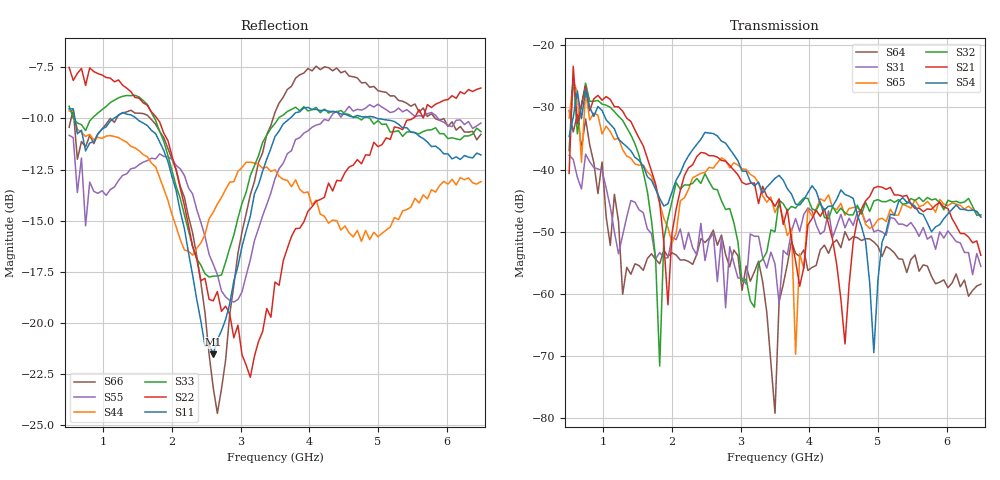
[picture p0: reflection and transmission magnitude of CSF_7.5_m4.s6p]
!Keysight Technologies,M9804A,MY58100912,A.14.10.03
!Date: Thursday, April 27, 2023 10:28:33
!Correction: S11(C  6-Port  )
!S12(C  6-Port  )
!S13(C  6-Port  )
!S14(C  6-Port  )
!S15(C  6-Port  )
!S16(C  6-Port  )
!S21(C  6-Port  )
!S22(C  6-Port  )
!S23(C  6-Port  )
!S24(C  6-Port  )
!S25(C  6-Port  )
!S26(C  6-Port  )
!S31(C  6-Port  )
!S32(C  6-Port  )
!S33(C  6-Port  )
!S34(C  6-Port  )
!S35(C  6-Port  )
!S36(C  6-Port  )
!S41(C  6-Port  )
!S42(C  6-Port  )
!S43(C  6-Port  )
!S44(C  6-Port  )
!S45(C  6-Port  )
!S46(C  6-Port  )
!S51(C  6-Port  )
!S52(C  6-Port  )
!S53(C  6-Port  )
!S54(C  6-Port  )
!S55(C  6-Port  )
!S56(C  6-Port  )
!S61(C  6-Port  )
!S62(C  6-Port  )
!S63(C  6-Port  )
!S64(C  6-Port  )
!S65(C  6-Port  )
!S66(C  6-Port  )
!S6P File: Measurement: :
# Hz S  RI  R 50
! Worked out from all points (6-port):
!   101 points, 500 MHz to 6.5 GHz, reference 50 ohm
!   strongest paths, dB at 500 MHz, 2 GHz, 3.5 GHz, 5 GHz, 6.5 GHz:
!     S54: -34.7, -43.6, -41.4, -57.8, -47.6
!     S21: -40.6, -50.2, -45.9, -42.7, -53.8
!     S32: -37.0, -45.1, -50.0, -44.8, -47.3
!     S65: -31.7, -51.8, -46.9, -48.1, -47.7
!     S31: -37.7, -50.9, -55.2, -49.8, -55.6
!     S64: -30.5, -53.4, -79.2, -52.3, -58.4
!   lowest |S11| = -21.5 dB at 2.6 GHz (marker M1), VSWR 1.18, Z = 42.5 + j1.94 ohm
!   |S11| at or under -10 dB: 582.8 MHz to 1.154 GHz (570.9 MHz wide, 65.8 % of centre); 1.477 GHz to 3.718 GHz (2.24 GHz wide, 86.2 % of centre); 4.986 GHz to end of sweep
